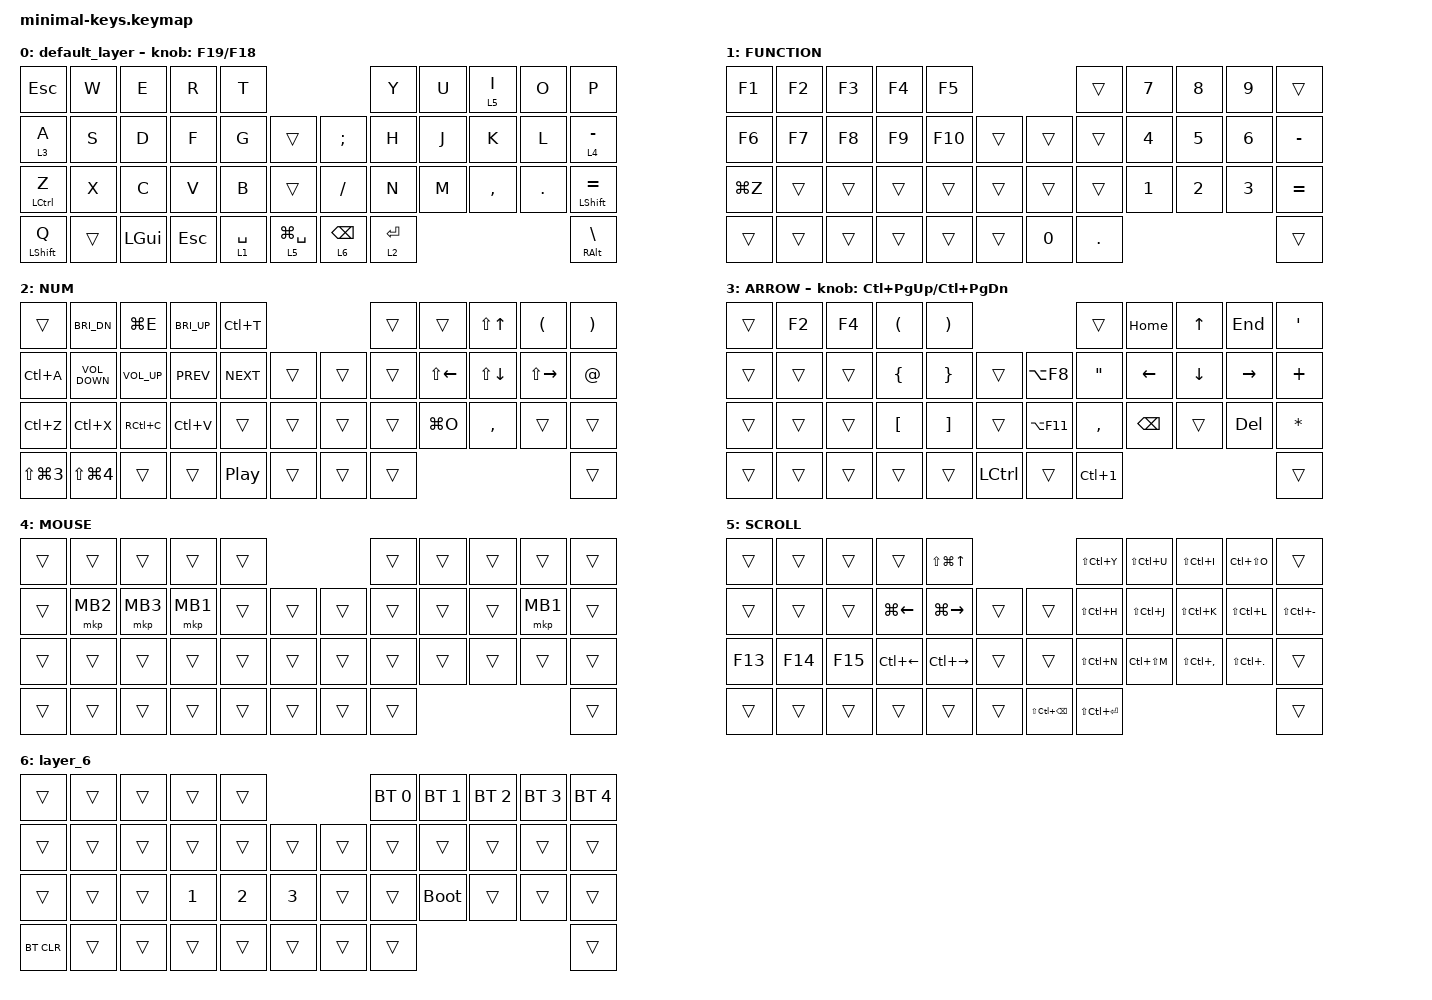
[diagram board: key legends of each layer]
#include <input/processors.dtsi>
#include <dt-bindings/zmk/input_transform.h>
#include <zephyr/dt-bindings/input/input-event-codes.h>
#include <behaviors.dtsi>
#include <dt-bindings/zmk/bt.h>
#include <dt-bindings/zmk/keys.h>
#include <dt-bindings/zmk/pointing.h>

// ==========================================
// 1. カスタム Input Processors の定義（不足分を補う設計図）
// ==========================================

/ {
    zip_temp_layer_threshold: zip_temp_layer_threshold {
        compatible = "zmk,input-processor-temp-layer";
        #input-processor-cells = <2>;
    };

    zip_xy_transform: zip_xy_transform {
        compatible = "zmk,input-processor-transform";
        #input-processor-cells = <1>;
        type = <INPUT_EV_REL>;
        x-codes = <INPUT_REL_X>;
        y-codes = <INPUT_REL_Y>;
    };

    zip_scroll_transform: zip_scroll_transform {
        compatible = "zmk,input-processor-transform";
        #input-processor-cells = <1>;
        type = <INPUT_EV_REL>;
        x-codes = <INPUT_REL_HWHEEL>;
        y-codes = <INPUT_REL_WHEEL>;
    };

    zip_scroll_x_scaler: zip_scroll_x_scaler {
        compatible = "zmk,input-processor-scaler";
        #input-processor-cells = <2>;
        type = <INPUT_EV_REL>;
        codes = <INPUT_REL_HWHEEL>;
        track-remainders;
    };

    zip_scroll_y_scaler: zip_scroll_y_scaler {
        compatible = "zmk,input-processor-scaler";
        #input-processor-cells = <2>;
        type = <INPUT_EV_REL>;
        codes = <INPUT_REL_WHEEL>;
        track-remainders;
    };
};

// ==========================================
// 2. システム・トラックボールへの割り当て
// ==========================================
// ▼ 自動マウスモード切り替えを復活！

&mkp_input_listener { input-processors = <&zip_temp_layer_threshold 4 1500>; };

&trackball_listener {
    input-processors = <
        &zip_xy_scaler 3 2
        // ▼ 閾値による自動切り替えを復活！
        &zip_temp_layer_threshold 4 1000
        &zip_xy_transform INPUT_TRANSFORM_X_INVERT // 左右反転
        //&zip_xy_transform INPUT_TRANSFORM_Y_INVERT // 上下反転
    >;

    // レイヤー3（Aボタン長押し）のみ縦スクロール

    tatescroller {
        layers = <3>;
        input-processors = <
            &zip_xy_to_scroll_mapper
            &zip_scroll_scaler 1 80 // スクロール速度調整
            &zip_scroll_transform INPUT_TRANSFORM_Y_INVERT // ★上下反転
            &zip_scroll_x_scaler 0 1 // スクロールを縦方向に限定する
        >;
    };

    // レイヤー5（Iボタン長押し）のみ横スクロール

    yokoscroller {
        layers = <5>;
        input-processors = <
            &zip_xy_to_scroll_mapper
            &zip_scroll_scaler 1 80 // スクロール速度調整
            &zip_scroll_transform INPUT_TRANSFORM_X_INVERT // 横方向を逆にする
            &zip_scroll_y_scaler 0 1 // スクロールを横方向に限定する
        >;
    };
};

&mt {
    flavor = "balanced";
    quick-tap-ms = <0>;
};

// ==========================================
// 3. キーマップ・コンボ・マクロ群の定義
// ==========================================

/ {
    combos {
        compatible = "zmk,combos";

        tab {
            bindings = <&kp TAB>;
            key-positions = <11 12>;
        };

        shift_tab {
            bindings = <&kp LS(TAB)>;
            key-positions = <12 13>;
        };

        BackSpace {
            bindings = <&kp BACKSPACE>;
            key-positions = <18 19>;
        };

        Delete {
            bindings = <&kp DELETE>;
            key-positions = <19 20>;
        };

        atto {
            bindings = <&kp AT>;
            key-positions = <7 8>;
        };
    };

    macros {
        to_layer_0: to_layer_0 {
            compatible = "zmk,behavior-macro-one-param";
            #binding-cells = <1>;
            bindings = <&to 0 &macro_param_1to1 &kp MACRO_PLACEHOLDER>;
            label = "TO_LAYER_0";
        };
    };

    behaviors {
        lt_to_layer_0: lt_to_layer_0 {
            compatible = "zmk,behavior-hold-tap";
            label = "LAYER_TAP_TO_0";
            bindings = <&mo>, <&to_layer_0>;

            #binding-cells = <2>;
            tapping-term-ms = <200>;
        };
    };

    keymap {
        compatible = "zmk,keymap";

        default_layer {
            bindings = <
&kp ESCAPE          &kp W   &kp E         &kp R       &kp T                                            &kp Y        &kp U  &lt 5 I    &kp O    &kp P
&lt 3 A             &kp S   &kp D         &kp F       &kp G        &trans             &kp SEMICOLON    &kp H        &kp J  &kp K      &kp L    &lt 4 MINUS
&mt LEFT_CONTROL Z  &kp X   &kp C         &kp V       &kp B        &trans             &kp SLASH        &kp N        &kp M  &kp COMMA  &kp DOT  &mt LEFT_SHIFT EQUAL
&mt LEFT_SHIFT Q    &trans  &kp LEFT_GUI  &kp ESCAPE  &lt 1 SPACE  &lt 5 LG(SPACE)    &lt 6 BACKSPACE  &lt 2 ENTER                             &mt RIGHT_ALT BACKSLASH
            >;

            sensor-bindings = <&inc_dec_kp F19 F18>;
        };

        FUNCTION {
            bindings = <
&kp F1     &kp F2  &kp F3  &kp F4  &kp F5                     &trans      &kp N7  &kp N8  &kp N9  &trans
&kp F6     &kp F7  &kp F8  &kp F9  &kp F10  &trans    &trans  &trans      &kp N4  &kp N5  &kp N6  &kp MINUS
&kp LG(Z)  &trans  &trans  &trans  &trans   &trans    &trans  &trans      &kp N1  &kp N2  &kp N3  &kp EQUAL
&trans     &trans  &trans  &trans  &trans   &trans    &kp N0  &kp PERIOD                          &trans
            >;
        };

        NUM {
            bindings = <
&trans          &kp C_BRI_DN       &kp LG(E)        &kp C_BRI_UP  &kp LC(T)                           &trans  &trans              &kp LS(UP_ARROW)    &kp LEFT_PARENTHESIS  &kp RIGHT_PARENTHESIS
&kp LC(A)       &kp C_VOLUME_DOWN  &kp C_VOLUME_UP  &kp C_PREV    &kp C_NEXT        &trans    &trans  &trans  &kp LS(LEFT_ARROW)  &kp LS(DOWN_ARROW)  &kp LS(RIGHT_ARROW)   &kp AT
&kp LC(Z)       &kp LC(X)          &kp RC(C)        &kp LC(V)     &trans            &trans    &trans  &trans  &kp LG(O)           &kp COMMA           &trans                &trans
&kp LS(LG(N3))  &kp LS(LG(N4))     &trans           &trans        &kp C_PLAY_PAUSE  &trans    &trans  &trans                                                                &trans
            >;
        };

        ARROW {
            bindings = <
&trans  &kp F2  &kp F4  &kp LEFT_PARENTHESIS  &kp RIGHT_PARENTHESIS                                   &trans             &kp HOME        &kp UP_ARROW    &kp END          &kp SINGLE_QUOTE
&trans  &trans  &trans  &kp LEFT_BRACE        &kp RIGHT_BRACE        &trans              &kp LA(F8)   &kp DOUBLE_QUOTES  &kp LEFT_ARROW  &kp DOWN_ARROW  &kp RIGHT_ARROW  &kp PLUS
&trans  &trans  &trans  &kp LEFT_BRACKET      &kp RIGHT_BRACKET      &trans              &kp LA(F11)  &kp COMMA          &kp BACKSPACE   &trans          &kp DELETE       &kp ASTERISK
&trans  &trans  &trans  &trans                &trans                 &kp LEFT_CONTROL    &trans       &kp LC(N1)                                                          &trans
            >;

            sensor-bindings = <&inc_dec_kp LC(PAGE_UP) LC(PAGE_DOWN)>;
        };

        MOUSE {
            bindings = <
&trans  &trans    &trans    &trans    &trans                    &trans  &trans  &trans  &trans    &trans
&trans  &mkp MB2  &mkp MB3  &mkp MB1  &trans  &trans    &trans  &trans  &trans  &trans  &mkp MB1  &trans
&trans  &trans    &trans    &trans    &trans  &trans    &trans  &trans  &trans  &trans  &trans    &trans
&trans  &trans    &trans    &trans    &trans  &trans    &trans  &trans                            &trans
            >;
        };

        SCROLL {
            bindings = <
&trans   &trans   &trans   &trans              &kp LS(LG(UP_ARROW))                                   &kp LS(LC(Y))      &kp LS(LC(U))  &kp LS(LC(I))      &kp LC(LS(O))       &trans
&trans   &trans   &trans   &kp LG(LEFT_ARROW)  &kp LG(RIGHT_ARROW)   &trans    &trans                 &kp LS(LC(H))      &kp LS(LC(J))  &kp LS(LC(K))      &kp LS(LC(L))       &kp LS(LC(MINUS))
&kp F13  &kp F14  &kp F15  &kp LC(LEFT_ARROW)  &kp LC(RIGHT_ARROW)   &trans    &trans                 &kp LS(LC(N))      &kp LC(LS(M))  &kp LS(LC(COMMA))  &kp LS(LC(PERIOD))  &trans
&trans   &trans   &trans   &trans              &trans                &trans    &kp LS(LC(BACKSPACE))  &kp LS(LC(ENTER))                                                        &trans
            >;
        };

        layer_6 {
            bindings = <
&trans      &trans  &trans  &trans  &trans                    &bt BT_SEL 0  &bt BT_SEL 1  &bt BT_SEL 2  &bt BT_SEL 3  &bt BT_SEL 4
&trans      &trans  &trans  &trans  &trans  &trans    &trans  &trans        &trans        &trans        &trans        &trans
&trans      &trans  &trans  &kp N1  &kp N2  &kp N3    &trans  &trans        &bootloader   &trans        &trans        &trans
&bt BT_CLR  &trans  &trans  &trans  &trans  &trans    &trans  &trans                                                  &trans
            >;
        };
    };
};
